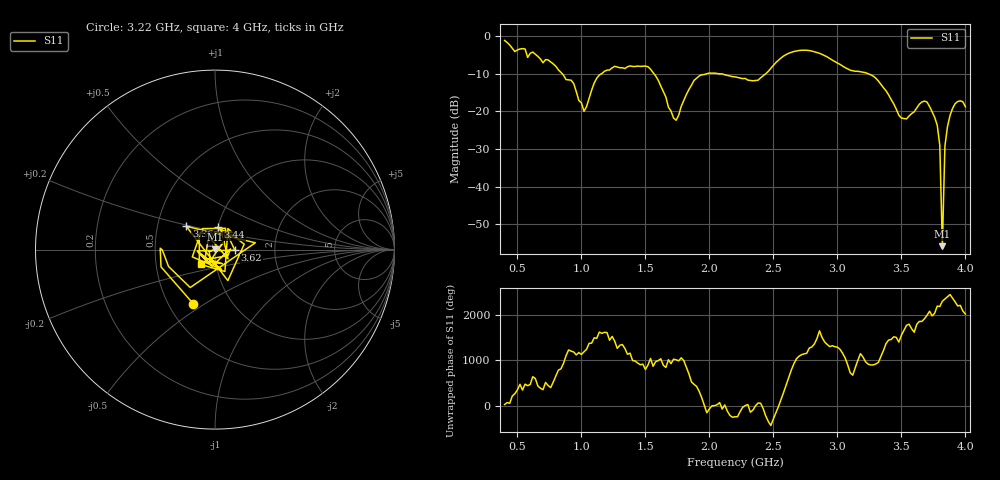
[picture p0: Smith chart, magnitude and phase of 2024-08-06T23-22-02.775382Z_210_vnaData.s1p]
!Created with skrf (http://scikit-rf.org).
# Hz S RI R 50.0
!freq ReS11 ImS11
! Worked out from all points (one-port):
!   181 points, 400 MHz to 4 GHz, reference 50 ohm
!   lowest |S11| = -55.8 dB at 3.82 GHz (marker M1), VSWR 1.00, Z = 49.9 + j0.0833 ohm
!   |S11| at or under -10 dB: 1.566 GHz to 1.984 GHz (417.1 MHz wide, 23.5 % of centre); 2.067 GHz to 2.441 GHz (373.9 MHz wide, 16.6 % of centre); 3.239 GHz to end of sweep (the widest 3 of 4)
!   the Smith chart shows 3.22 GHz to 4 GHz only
!   S11 on the Smith chart (normalised r, x): 3.22 GHz: 0.66, -0.45; 3.36 GHz: 0.70, +0.19; 3.44 GHz: 1.00, +0.25; 3.62 GHz: 1.25, -0.01; 4 GHz: 0.84, -0.14
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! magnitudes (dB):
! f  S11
! 400 MHz  -1.2
! 860 MHz  -10.4
! 940 MHz  -12.6
! 1.02 GHz  -20.0
! 1.14 GHz  -10.4
! 1.3 GHz  -8.5
! 1.52 GHz  -8.2
! 1.72 GHz  -21.8
! 1.76 GHz  -21.0
! 1.92 GHz  -10.6
! 2.2 GHz  -10.9
! 2.38 GHz  -11.8
! 2.66 GHz  -4.1
! 3.1 GHz  -9.1
! 3.22 GHz  -9.8
! 3.36 GHz  -13.7
! 3.44 GHz  -18.0
! 3.5 GHz  -21.8
! 3.56 GHz  -21.2
! 3.62 GHz  -19.1
! 3.7 GHz  -17.5
! 3.78 GHz  -23.7
! 3.8 GHz  -29.0
! 3.82 GHz  -55.8
! 3.84 GHz  -29.3
! 3.86 GHz  -24.1
! 3.92 GHz  -18.0
! 4 GHz  -18.8
